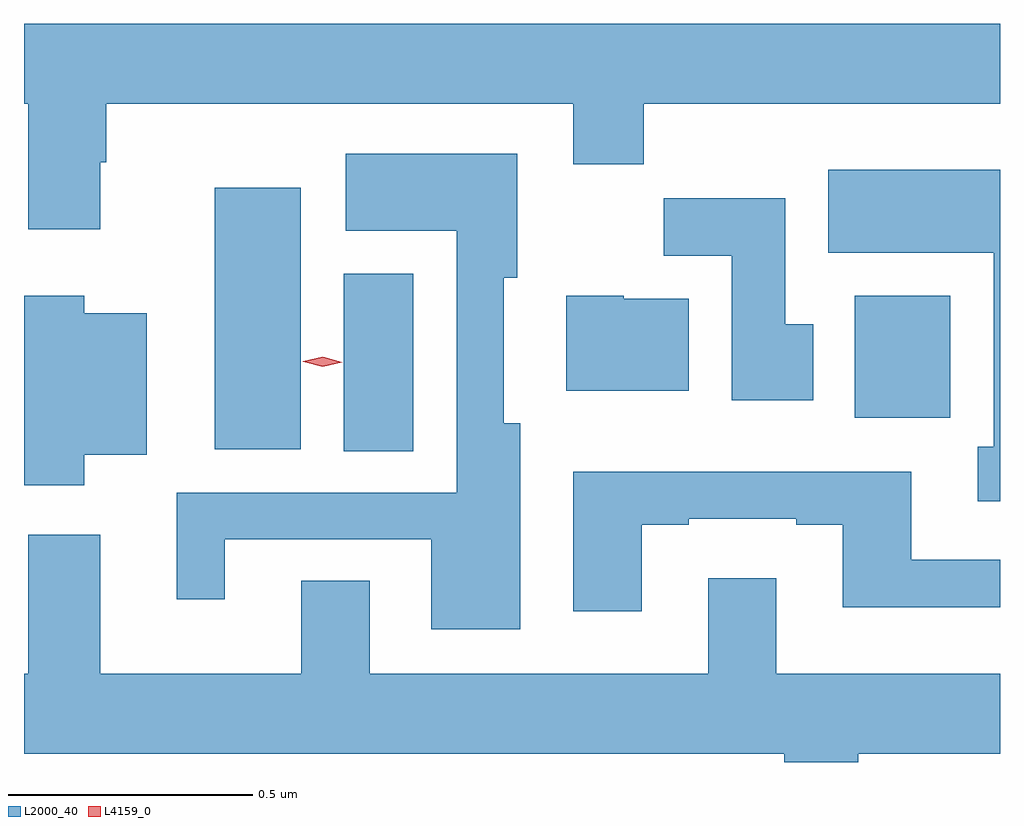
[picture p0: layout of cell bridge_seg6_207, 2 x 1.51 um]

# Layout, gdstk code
import gdstk
lib = gdstk.Library(unit=1e-6, precision=1e-09)
def R(c, l, rs):  # rectangles x0, y0, x1, y1
    for r in rs: c.add(gdstk.rectangle(r[:2], r[2:], *l))
def P(c, l, *ps):  # polygons
    for p in ps: c.add(gdstk.Polygon(p, *l))
L2000_40 = (2000, 40)
L4159_0 = (4159, 0)

bridge_seg6_207 = lib.new_cell('bridge_seg6_207')
R(bridge_seg6_207, L2000_40, [(294.332,973.264,294.475,973.627), (294.068,973.268,294.244,973.804), (295.379,973.332,295.575,973.582)])
P(bridge_seg6_207, L2000_40, [(293.833,973.856),(293.846,973.856),(293.846,973.976),(294.803,973.976),(294.803,973.852),(294.947,973.852),(294.947,973.976),(295.677,973.976),(295.677,974.14),(293.677,974.14),(293.677,973.976),(293.686,973.976),(293.686,973.719),(293.833,973.719)],
  [(294.694,973.321),(294.66,973.321),(294.66,973.619),(294.688,973.619),(294.688,973.873),(294.336,973.873),(294.336,973.715),(294.564,973.715),(294.564,973.179),(293.99,973.179),(293.99,972.96),(294.088,972.96),(294.088,973.083),(294.512,973.083),(294.512,972.899),(294.694,972.899)],
  [(295.677,973.84),(295.325,973.84),(295.325,973.67),(295.664,973.67),(295.664,973.273),(295.631,973.273),(295.631,973.161),(295.677,973.161)],
  [(295.294,973.524),(295.237,973.524),(295.237,973.782),(294.988,973.782),(294.988,973.664),(295.127,973.664),(295.127,973.368),(295.294,973.368)],
  [(293.8,973.256),(293.929,973.256),(293.929,973.546),(293.8,973.546),(293.8,973.582),(293.678,973.582),(293.678,973.306),(293.677,973.306),(293.677,973.194),(293.8,973.194)],
  [(295.039,973.576),(294.906,973.576),(294.906,973.582),(294.788,973.582),(294.788,973.388),(295.039,973.388)],
  [(294.943,973.113),(295.039,973.113),(295.039,973.125),(295.259,973.125),(295.259,973.113),(295.355,973.113),(295.355,972.944),(295.677,972.944),(295.677,973.041),(295.495,973.041),(295.495,973.222),(294.803,973.222),(294.803,972.936),(294.943,972.936)],
  [(295.387,972.644),(295.677,972.644),(295.677,972.808),(295.219,972.808),(295.219,973.003),(295.079,973.003),(295.079,972.808),(294.385,972.808),(294.385,972.998),(294.245,972.998),(294.245,972.808),(293.833,972.808),(293.833,973.093),(293.686,973.093),(293.686,972.808),(293.677,972.808),(293.677,972.644),(295.235,972.644),(295.235,972.626),(295.387,972.626)])
P(bridge_seg6_207, L4159_0, [(294.289,973.437),(294.249,973.447),(294.248,973.448),(294.249,973.448),(294.289,973.457),(294.329,973.446),(294.329,973.446),(294.329,973.446)])

lib.write_gds('bridge_seg6_207.gds')
